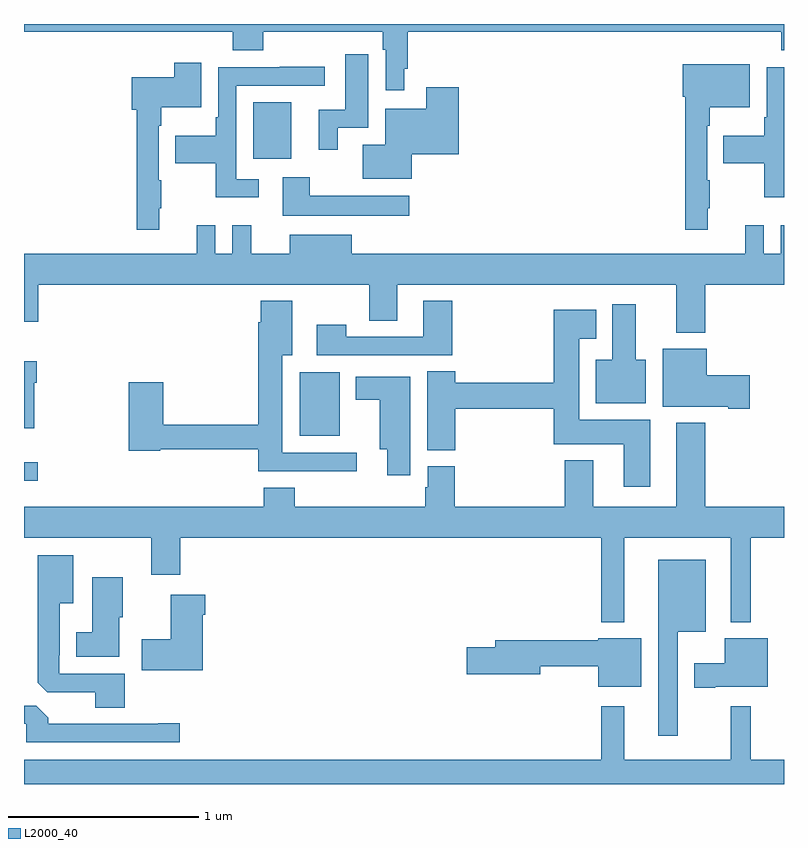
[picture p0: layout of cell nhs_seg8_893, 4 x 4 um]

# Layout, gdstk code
import gdstk
lib = gdstk.Library(unit=1e-6, precision=1e-09)
def R(c, l, rs):  # rectangles x0, y0, x1, y1
    for r in rs: c.add(gdstk.rectangle(r[:2], r[2:], *l))
def P(c, l, *ps):  # polygons
    for p in ps: c.add(gdstk.Polygon(p, *l))
L2000_40 = (2000, 40)

nhs_seg8_893 = lib.new_cell('nhs_seg8_893')
R(nhs_seg8_893, L2000_40, [(169,1087.496,169.072,1087.593), (170.45,1087.733,170.662,1088.068), (170.207,1089.191,170.407,1089.487)])
P(nhs_seg8_893, L2000_40, [(171,1089.664),(171.02,1089.664),(171.02,1089.86),(172.985,1089.86),(172.985,1089.761),(173,1089.761),(173,1089.9),(169,1089.9),(169,1089.86),(170.099,1089.86),(170.099,1089.761),(170.259,1089.761),(170.259,1089.86),(170.889,1089.86),(170.889,1089.764),(170.904,1089.764),(170.904,1089.552),(171,1089.552)],
  [(170.65,1089.354),(170.812,1089.354),(170.812,1089.629),(170.811,1089.629),(170.811,1089.742),(170.69,1089.742),(170.69,1089.45),(170.552,1089.45),(170.552,1089.237),(170.65,1089.237)],
  [(169.712,1088.929),(169.723,1088.929),(169.723,1089.077),(169.71,1089.077),(169.71,1089.365),(169.723,1089.365),(169.723,1089.461),(169.933,1089.461),(169.933,1089.697),(169.79,1089.697),(169.79,1089.619),(169.568,1089.619),(169.568,1089.449),(169.594,1089.449),(169.594,1088.817),(169.712,1088.817)],
  [(172.598,1088.929),(172.609,1088.929),(172.609,1089.077),(172.596,1089.077),(172.596,1089.365),(172.609,1089.365),(172.609,1089.461),(172.819,1089.461),(172.819,1089.688),(172.466,1089.688),(172.466,1089.518),(172.48,1089.518),(172.48,1088.817),(172.598,1088.817)],
  [(170.236,1089.084),(170.118,1089.084),(170.118,1089.576),(170.584,1089.576),(170.584,1089.674),(170.347,1089.674),(170.347,1089.672),(170.022,1089.672),(170.022,1089.409),(170.01,1089.409),(170.01,1089.313),(169.795,1089.313),(169.795,1089.166),(170.01,1089.166),(170.01,1088.987),(170.236,1088.987)],
  [(173,1089.672),(172.908,1089.672),(172.908,1089.409),(172.896,1089.409),(172.896,1089.313),(172.681,1089.313),(172.681,1089.166),(172.896,1089.166),(172.896,1088.987),(173,1088.987)],
  [(171.04,1089.215),(171.287,1089.215),(171.287,1089.568),(171.116,1089.568),(171.116,1089.454),(170.9,1089.454),(170.9,1089.265),(170.783,1089.265),(170.783,1089.086),(171.04,1089.086)],
  [(171.028,1088.995),(170.503,1088.995),(170.503,1089.094),(170.363,1089.094),(170.363,1088.891),(171.028,1088.891)],
  [(172.586,1088.528),(173,1088.528),(173,1088.842),(172.983,1088.842),(172.983,1088.692),(172.893,1088.692),(172.893,1088.842),(172.796,1088.842),(172.796,1088.692),(170.725,1088.692),(170.725,1088.791),(170.399,1088.791),(170.399,1088.692),(170.195,1088.692),(170.195,1088.842),(170.097,1088.842),(170.097,1088.692),(170.007,1088.692),(170.007,1088.842),(169.91,1088.842),(169.91,1088.692),(169,1088.692),(169,1088.334),(169.076,1088.334),(169.076,1088.528),(170.818,1088.528),(170.818,1088.338),(170.965,1088.338),(170.965,1088.528),(172.433,1088.528),(172.433,1088.276),(172.586,1088.276)],
  [(170.752,1087.644),(170.359,1087.644),(170.359,1088.156),(170.413,1088.156),(170.413,1088.443),(170.246,1088.443),(170.246,1088.33),(170.234,1088.33),(170.234,1087.79),(169.733,1087.79),(169.733,1088.014),(169.55,1088.014),(169.55,1087.654),(169.716,1087.654),(169.716,1087.662),(170.234,1087.662),(170.234,1087.547),(170.752,1087.547)],
  [(171.254,1088.443),(171.101,1088.443),(171.101,1088.253),(170.697,1088.253),(170.697,1088.317),(170.541,1088.317),(170.541,1088.157),(171.254,1088.157)],
  [(172.273,1088.134),(172.219,1088.134),(172.219,1088.425),(172.097,1088.425),(172.097,1088.134),(172.01,1088.134),(172.01,1087.904),(172.273,1087.904)],
  [(172.297,1087.816),(171.922,1087.816),(171.922,1088.243),(172.012,1088.243),(172.012,1088.395),(171.788,1088.395),(171.788,1088.012),(171.269,1088.012),(171.269,1088.072),(171.122,1088.072),(171.122,1087.657),(171.269,1087.657),(171.269,1087.876),(171.788,1087.876),(171.788,1087.688),(172.157,1087.688),(172.157,1087.464),(172.297,1087.464)],
  [(172.819,1088.052),(172.594,1088.052),(172.594,1088.191),(172.361,1088.191),(172.361,1087.886),(172.706,1087.886),(172.706,1087.874),(172.819,1087.874)],
  [(169.054,1088.012),(169.067,1088.012),(169.067,1088.125),(169,1088.125),(169,1087.772),(169.054,1087.772)],
  [(171.034,1088.044),(170.747,1088.044),(170.747,1087.922),(170.873,1087.922),(170.873,1087.661),(170.912,1087.661),(170.912,1087.524),(171.034,1087.524)],
  [(172.159,1087.196),(172.721,1087.196),(172.721,1086.752),(172.825,1086.752),(172.825,1087.196),(173,1087.196),(173,1087.36),(172.586,1087.36),(172.586,1087.801),(172.433,1087.801),(172.433,1087.36),(171.997,1087.36),(171.997,1087.603),(171.845,1087.603),(171.845,1087.36),(171.266,1087.36),(171.266,1087.572),(171.125,1087.572),(171.125,1087.461),(171.113,1087.461),(171.113,1087.36),(170.426,1087.36),(170.426,1087.459),(170.261,1087.459),(170.261,1087.36),(169,1087.36),(169,1087.196),(169.67,1087.196),(169.67,1087.002),(169.823,1087.002),(169.823,1087.196),(172.038,1087.196),(172.038,1086.752),(172.159,1086.752)],
  [(169.529,1086.48),(169.185,1086.48),(169.185,1086.577),(169.189,1086.577),(169.189,1086.851),(169.258,1086.851),(169.258,1087.105),(169.073,1087.105),(169.073,1086.433),(169.122,1086.384),(169.376,1086.384),(169.376,1086.301),(169.529,1086.301)],
  [(172.441,1086.701),(172.588,1086.701),(172.588,1087.081),(172.337,1087.081),(172.337,1086.153),(172.441,1086.153)],
  [(169.501,1086.777),(169.519,1086.777),(169.519,1086.988),(169.358,1086.988),(169.358,1086.7),(169.274,1086.7),(169.274,1086.569),(169.501,1086.569)],
  [(169.942,1086.791),(169.955,1086.791),(169.955,1086.895),(169.772,1086.895),(169.772,1086.663),(169.62,1086.663),(169.62,1086.5),(169.942,1086.5)],
  [(172.639,1086.413),(172.915,1086.413),(172.915,1086.667),(172.688,1086.667),(172.688,1086.535),(172.527,1086.535),(172.527,1086.406),(172.639,1086.406)],
  [(172.249,1086.667),(172.022,1086.667),(172.022,1086.656),(171.479,1086.656),(171.479,1086.62),(171.33,1086.62),(171.33,1086.478),(171.718,1086.478),(171.718,1086.52),(172.022,1086.52),(172.022,1086.413),(172.249,1086.413)],
  [(169.819,1086.221),(169.706,1086.221),(169.706,1086.216),(169.127,1086.216),(169.127,1086.25),(169.065,1086.312),(169,1086.312),(169,1086.216),(169.011,1086.216),(169.011,1086.12),(169.819,1086.12)],
  [(173,1086.028),(172.825,1086.028),(172.825,1086.31),(172.719,1086.31),(172.719,1086.028),(172.159,1086.028),(172.159,1086.31),(172.038,1086.31),(172.038,1086.028),(169,1086.028),(169,1085.9),(173,1085.9)])

lib.write_gds('nhs_seg8_893.gds')
